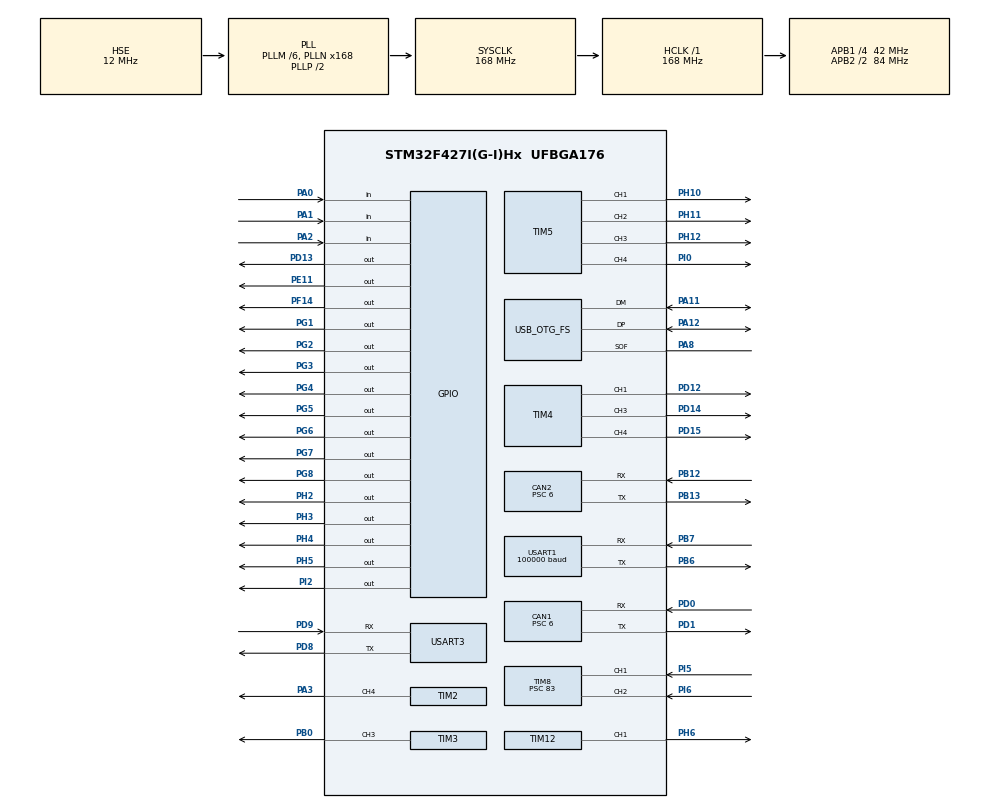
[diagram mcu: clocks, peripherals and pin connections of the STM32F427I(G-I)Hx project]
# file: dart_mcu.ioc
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CAN1.BS1=CAN_BS1_4TQ
CAN1.BS2=CAN_BS2_2TQ
CAN1.CalculateBaudRate=1000000
CAN1.CalculateTimeBit=1000
CAN1.CalculateTimeQuantum=142.85714285714286
CAN1.Prescaler=6
CAN2.BS1=CAN_BS1_4TQ
CAN2.BS2=CAN_BS2_2TQ
CAN2.CalculateBaudRate=1000000
CAN2.CalculateTimeBit=1000
CAN2.CalculateTimeQuantum=142.85714285714286
CAN2.Prescaler=6
Dma.Request0=USART1_RX
Dma.Request1=USART3_RX
Dma.Request2=TIM3_CH3
Dma.TIM3_CH3.2.Direction=DMA_MEMORY_TO_PERIPH
Dma.TIM3_CH3.2.FIFOMode=DMA_FIFOMODE_DISABLE
Dma.TIM3_CH3.2.Instance=DMA1_Stream7
Dma.TIM3_CH3.2.MemDataAlignment=DMA_MDATAALIGN_HALFWORD
Dma.TIM3_CH3.2.MemInc=DMA_MINC_ENABLE
Dma.TIM3_CH3.2.Mode=DMA_NORMAL
Dma.TIM3_CH3.2.PeriphDataAlignment=DMA_PDATAALIGN_HALFWORD
Dma.TIM3_CH3.2.PeriphInc=DMA_PINC_DISABLE
Dma.TIM3_CH3.2.Priority=DMA_PRIORITY_LOW
Dma.USART1_RX.0.Direction=DMA_PERIPH_TO_MEMORY
Dma.USART1_RX.0.FIFOMode=DMA_FIFOMODE_DISABLE
Dma.USART1_RX.0.Instance=DMA2_Stream2
Dma.USART1_RX.0.MemDataAlignment=DMA_MDATAALIGN_BYTE
Dma.USART1_RX.0.MemInc=DMA_MINC_ENABLE
Dma.USART1_RX.0.Mode=DMA_NORMAL
Dma.USART1_RX.0.PeriphDataAlignment=DMA_PDATAALIGN_BYTE
Dma.USART1_RX.0.PeriphInc=DMA_PINC_DISABLE
Dma.USART1_RX.0.Priority=DMA_PRIORITY_HIGH
Dma.USART3_RX.1.Direction=DMA_PERIPH_TO_MEMORY
Dma.USART3_RX.1.FIFOMode=DMA_FIFOMODE_DISABLE
Dma.USART3_RX.1.Instance=DMA1_Stream1
Dma.USART3_RX.1.MemDataAlignment=DMA_MDATAALIGN_BYTE
Dma.USART3_RX.1.MemInc=DMA_MINC_ENABLE
Dma.USART3_RX.1.Mode=DMA_NORMAL
Dma.USART3_RX.1.PeriphDataAlignment=DMA_PDATAALIGN_BYTE
Dma.USART3_RX.1.PeriphInc=DMA_PINC_DISABLE
Dma.USART3_RX.1.Priority=DMA_PRIORITY_HIGH
FREERTOS.Tasks01=defaultTask,24,3000,StartDefaultTask,Default,NULL,Dynamic,NULL,NULL
FREERTOS.configCHECK_FOR_STACK_OVERFLOW=2
FREERTOS.configTOTAL_HEAP_SIZE=53096
FREERTOS.configUSE_NEWLIB_REENTRANT=1
Mcu.Family=STM32F4
Mcu.Name=STM32F427I(G-I)Hx
Mcu.Package=UFBGA176
NVIC.CAN1_RX0_IRQn=true\:5\:0\:false\:false\:true\:true\:true\:true\:true
NVIC.CAN2_RX0_IRQn=true\:5\:0\:false\:false\:true\:true\:true\:true\:true
NVIC.DMA1_Stream1_IRQn=true\:5\:0\:false\:false\:true\:true\:false\:true\:true
NVIC.DMA1_Stream7_IRQn=true\:5\:0\:false\:false\:true\:true\:false\:true\:true
NVIC.DMA2_Stream2_IRQn=true\:5\:0\:false\:false\:true\:true\:false\:true\:true
NVIC.OTG_FS_IRQn=true\:5\:0\:false\:false\:true\:true\:false\:true\:true
NVIC.PriorityGroup=NVIC_PRIORITYGROUP_4
NVIC.TIM1_UP_TIM10_IRQn=true\:15\:0\:false\:false\:true\:false\:false\:true\:true
NVIC.TIM6_DAC_IRQn=true\:5\:0\:false\:false\:true\:true\:true\:true\:true
NVIC.TIM8_CC_IRQn=true\:5\:0\:false\:false\:true\:true\:true\:true\:true
NVIC.TIM8_UP_TIM13_IRQn=true\:5\:0\:false\:false\:true\:true\:true\:true\:true
NVIC.TimeBase=TIM1_UP_TIM10_IRQn
NVIC.TimeBaseIP=TIM1
NVIC.USART1_IRQn=true\:5\:0\:false\:false\:true\:true\:true\:true\:true
NVIC.USART3_IRQn=true\:5\:0\:false\:false\:true\:true\:true\:true\:true
PA0/WKUP.GPIO_PuPd=GPIO_PULLUP
PA0/WKUP.Signal=GPIO_Input
PA1.GPIO_PuPd=GPIO_PULLUP
PA1.Signal=GPIO_Input
PA11.Mode=Device_Only
PA11.Signal=USB_OTG_FS_DM
PA12.Mode=Device_Only
PA12.Signal=USB_OTG_FS_DP
PA13.Mode=Serial_Wire
PA13.Signal=SYS_JTMS-SWDIO
PA14.Mode=Serial_Wire
PA14.Signal=SYS_JTCK-SWCLK
PA2.Signal=GPIO_Input
PA3.Signal=S_TIM2_CH4
PA8.Mode=Activate_SOF_FS
PA8.Signal=USB_OTG_FS_SOF
PB0.Signal=S_TIM3_CH3
PB12.Mode=CAN_Activate
PB12.Signal=CAN2_RX
PB13.Mode=CAN_Activate
PB13.Signal=CAN2_TX
PB6.Mode=Asynchronous
PB6.Signal=USART1_TX
PB7.Mode=Asynchronous
PB7.Signal=USART1_RX
PD0.Mode=CAN_Activate
PD0.Signal=CAN1_RX
PD1.Mode=CAN_Activate
PD1.Signal=CAN1_TX
PD12.Signal=S_TIM4_CH1
PD13.PinState=GPIO_PIN_SET
PD13.Signal=GPIO_Output
PD14.Signal=S_TIM4_CH3
PD15.Signal=S_TIM4_CH4
PD8.Mode=Asynchronous
PD8.Signal=USART3_TX
PD9.Mode=Asynchronous
PD9.Signal=USART3_RX
PE11.Signal=GPIO_Output
PF14.PinState=GPIO_PIN_SET
PF14.Signal=GPIO_Output
PG1.PinState=GPIO_PIN_SET
PG1.Signal=GPIO_Output
PG2.PinState=GPIO_PIN_SET
PG2.Signal=GPIO_Output
PG3.PinState=GPIO_PIN_SET
PG3.Signal=GPIO_Output
PG4.PinState=GPIO_PIN_SET
PG4.Signal=GPIO_Output
PG5.PinState=GPIO_PIN_SET
PG5.Signal=GPIO_Output
PG6.PinState=GPIO_PIN_SET
PG6.Signal=GPIO_Output
PG7.PinState=GPIO_PIN_SET
PG7.Signal=GPIO_Output
PG8.PinState=GPIO_PIN_SET
PG8.Signal=GPIO_Output
PH0/OSC_IN.Mode=HSE-External-Oscillator
PH0/OSC_IN.Signal=RCC_OSC_IN
PH1/OSC_OUT.Mode=HSE-External-Oscillator
PH1/OSC_OUT.Signal=RCC_OSC_OUT
PH10.Signal=S_TIM5_CH1
PH11.Signal=S_TIM5_CH2
PH12.Signal=S_TIM5_CH3
PH2.GPIO_PuPd=GPIO_PULLUP
PH2.PinState=GPIO_PIN_RESET
PH2.Signal=GPIO_Output
PH3.GPIO_PuPd=GPIO_PULLUP
PH3.PinState=GPIO_PIN_RESET
PH3.Signal=GPIO_Output
PH4.GPIO_PuPd=GPIO_PULLUP
PH4.PinState=GPIO_PIN_RESET
PH4.Signal=GPIO_Output
PH5.GPIO_PuPd=GPIO_PULLUP
PH5.PinState=GPIO_PIN_RESET
PH5.Signal=GPIO_Output
PH6.Signal=S_TIM12_CH1
PI0.Signal=S_TIM5_CH4
PI2.PinState=GPIO_PIN_SET
PI2.Signal=GPIO_Output
PI5.Signal=S_TIM8_CH1
PI6.Signal=S_TIM8_CH2
ProjectManager.HeapSize=0x200
ProjectManager.StackSize=0x400
ProjectManager.TargetToolchain=STM32CubeIDE
RCC.48MHZClocksFreq_Value=48000000
RCC.AHBFreq_Value=168000000
RCC.APB1CLKDivider=RCC_HCLK_DIV4
RCC.APB1Freq_Value=42000000
RCC.APB1TimFreq_Value=84000000
RCC.APB2CLKDivider=RCC_HCLK_DIV2
RCC.APB2Freq_Value=84000000
RCC.APB2TimFreq_Value=168000000
RCC.CortexFreq_Value=168000000
RCC.HCLKFreq_Value=168000000
RCC.HSE_VALUE=12000000
RCC.HSI_VALUE=16000000
RCC.LSE_VALUE=32768
RCC.PLLM=6
RCC.PLLN=168
RCC.PLLQ=7
RCC.SYSCLKFreq_VALUE=168000000
RCC.SYSCLKSource=RCC_SYSCLKSOURCE_PLLCLK
RCC.VCOOutputFreq_Value=336000000
SH.S_TIM12_CH1.0=TIM12_CH1,PWM Generation1 CH1
SH.S_TIM2_CH4.0=TIM2_CH4,PWM Generation4 CH4
SH.S_TIM3_CH3.0=TIM3_CH3,PWM Generation3 CH3
SH.S_TIM4_CH1.0=TIM4_CH1,PWM Generation1 CH1
SH.S_TIM4_CH3.0=TIM4_CH3,PWM Generation3 CH3
SH.S_TIM4_CH4.0=TIM4_CH4,PWM Generation4 CH4
SH.S_TIM5_CH1.0=TIM5_CH1,PWM Generation1 CH1
SH.S_TIM5_CH2.0=TIM5_CH2,PWM Generation2 CH2
SH.S_TIM5_CH3.0=TIM5_CH3,PWM Generation3 CH3
SH.S_TIM5_CH4.0=TIM5_CH4,PWM Generation4 CH4
SH.S_TIM8_CH1.0=TIM8_CH1,Input_Capture1_from_TI1
SH.S_TIM8_CH2.0=TIM8_CH2,Input_Capture2_from_TI2
TIM12.Channel-PWM\ Generation1\ CH1=TIM_CHANNEL_1
TIM12.Period=0
TIM12.Prescaler=7
TIM12.Pulse-PWM\ Generation1\ CH1=50
TIM2.Channel-PWM\ Generation4\ CH4=TIM_CHANNEL_4
TIM2.Period=0
TIM2.Prescaler=7
TIM2.Pulse-PWM\ Generation4\ CH4=50
TIM3.Channel-PWM\ Generation3\ CH3=TIM_CHANNEL_3
TIM3.Period=105
TIM4.Channel-PWM\ Generation1\ CH1=TIM_CHANNEL_1
TIM4.Channel-PWM\ Generation3\ CH3=TIM_CHANNEL_3
TIM4.Channel-PWM\ Generation4\ CH4=TIM_CHANNEL_4
TIM5.Channel-PWM\ Generation1\ CH1=TIM_CHANNEL_1
TIM5.Channel-PWM\ Generation2\ CH2=TIM_CHANNEL_2
TIM5.Channel-PWM\ Generation3\ CH3=TIM_CHANNEL_3
TIM5.Channel-PWM\ Generation4\ CH4=TIM_CHANNEL_4
TIM6.Prescaler=8399
TIM8.Channel-Input_Capture1_from_TI1=TIM_CHANNEL_1
TIM8.Channel-Input_Capture2_from_TI2=TIM_CHANNEL_2
TIM8.Prescaler=83
USART1.BaudRate=100000
USART1.Mode=MODE_RX
USART1.Parity=PARITY_EVEN
USART1.VirtualMode=VM_ASYNC
USART1.WordLength=WORDLENGTH_9B
USART3.VirtualMode=VM_ASYNC
USB_DEVICE.CLASS_NAME_FS=CDC
USB_DEVICE.VirtualMode-CDC_FS=Cdc
USB_DEVICE.VirtualModeFS=Cdc_FS
USB_OTG_FS.VirtualMode=Device_Only
VP_FREERTOS_VS_CMSIS_V2.Mode=CMSIS_V2
VP_RNG_VS_RNG.Mode=RNG_Activate
VP_SYS_VS_tim1.Mode=TIM1
VP_TIM6_VS_ClockSourceINT.Mode=Enable_Timer
VP_TIM8_VS_ClockSourceINT.Mode=Internal
VP_USB_DEVICE_VS_USB_DEVICE_CDC_FS.Mode=CDC_FS
board=custom

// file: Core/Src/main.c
/* USER CODE BEGIN Header */
/**
  ******************************************************************************
  * @file           : main.c
  * @brief          : Main program body
  ******************************************************************************
  */
/* USER CODE END Header */
#include "main.h"
#include "cmsis_os.h"
#include "can.h"
#include "dma.h"
#include "rng.h"
#include "tim.h"
#include "usart.h"
#include "usb_device.h"
#include "gpio.h"

/* USER CODE BEGIN Includes */
#include "motor_M4310.h"
#include "motor_rm.h"
#include "dbus.h"
#include "pid_controller.h"
/* USER CODE END Includes */

/* USER CODE BEGIN PV */
M4310_HandleTypeDef hm4310_12;   /* M4310: CAN2 ID=12, 反馈 0x20C */
M4310_HandleTypeDef hm4310_13;   /* M4310: CAN2 ID=13, 反馈 0x20D */
/* USER CODE END PV */

void SystemClock_Config(void);
void MX_FREERTOS_Init(void);

int main(void)
{
  HAL_Init();
  SystemClock_Config();
  MX_GPIO_Init();
  MX_DMA_Init();
  MX_TIM12_Init();
  MX_TIM6_Init();
  MX_CAN1_Init();
  MX_CAN2_Init();
  MX_TIM4_Init();
  MX_TIM5_Init();
  MX_USART1_UART_Init();
  MX_USART3_UART_Init();
  MX_TIM8_Init();
  MX_RNG_Init();
  MX_TIM2_Init();
  MX_TIM3_Init();

  /* USER CODE BEGIN 2 */
  CAN_FilterTypeDef sFilterConfig;
  sFilterConfig.FilterBank = 0;
  sFilterConfig.FilterMode = CAN_FILTERMODE_IDMASK;
  sFilterConfig.FilterScale = CAN_FILTERSCALE_32BIT;
  sFilterConfig.FilterIdHigh = 0x0000;
  sFilterConfig.FilterIdLow = 0x0000;
  sFilterConfig.FilterMaskIdHigh = 0x0000;
  sFilterConfig.FilterMaskIdLow = 0x0000;
  sFilterConfig.FilterFIFOAssignment = CAN_RX_FIFO0;
  sFilterConfig.FilterActivation = ENABLE;
  sFilterConfig.SlaveStartFilterBank = 14;
  HAL_CAN_ConfigFilter(&hcan1, &sFilterConfig);
  HAL_CAN_Start(&hcan1);
  HAL_CAN_ActivateNotification(&hcan1, CAN_IT_RX_FIFO0_MSG_PENDING);

  /* 配置 CAN2 滤波器 */
  sFilterConfig.FilterBank = 14;
  sFilterConfig.FilterMode = CAN_FILTERMODE_IDMASK;
  sFilterConfig.FilterScale = CAN_FILTERSCALE_32BIT;
  sFilterConfig.FilterIdHigh = 0x0000;
  sFilterConfig.FilterIdLow = 0x0000;
  sFilterConfig.FilterMaskIdHigh = 0x0000;
  sFilterConfig.FilterMaskIdLow = 0x0000;
  sFilterConfig.FilterFIFOAssignment = CAN_RX_FIFO0;
  sFilterConfig.FilterActivation = ENABLE;
  sFilterConfig.SlaveStartFilterBank = 14;
  HAL_CAN_ConfigFilter(&hcan2, &sFilterConfig);
  HAL_CAN_Start(&hcan2);
  HAL_CAN_ActivateNotification(&hcan2, CAN_IT_RX_FIFO0_MSG_PENDING);

  /* 初始化电机:
   * RM 系列 (M2006/M3508/GM6020) 通过 C++ 基类统一初始化
   * M4310 × 2 保持原有 C 接口
   */
  motor_rm_c_init_all();
  M4310_Init(&hm4310_12,  12,  10000);
  M4310_Init(&hm4310_13,  13,  10000);

  /* 初始化 PID 控制器（关联电机对象指针） */
  pid_controller_init_all();

  /* 初始化 DBUS 遥控器 */
  DT7_Init();
  HAL_UARTEx_ReceiveToIdle_DMA(RC_UART_HANDLE, RC_UART_RXBUFFER, RC_UART_BUFFER_LEN);

  uint32_t motor_wait_start = HAL_GetTick();
  while (!motor_rm_c_is_connected(motor_rm_gm6020) ||
         !motor_rm_c_is_connected(motor_rm_m2006) ||
         !motor_rm_c_is_connected(motor_rm_m3508_2) ||
         !motor_rm_c_is_connected(motor_rm_m3508_3) ||
         !M4310_IsConnected(&hm4310_12) ||
         !M4310_IsConnected(&hm4310_13)) {
      if (HAL_GetTick() - motor_wait_start > 3000) break;
  }
  /* USER CODE END 2 */

  osKernelInitialize();
  MX_FREERTOS_Init();
  osKernelStart();

  while (1) { }
}

void SystemClock_Config(void)
{
  RCC_OscInitTypeDef RCC_OscInitStruct = {0};
  RCC_ClkInitTypeDef RCC_ClkInitStruct = {0};
  __HAL_RCC_PWR_CLK_ENABLE();
  __HAL_PWR_VOLTAGESCALING_CONFIG(PWR_REGULATOR_VOLTAGE_SCALE1);
  RCC_OscInitStruct.OscillatorType = RCC_OSCILLATORTYPE_HSE;
  RCC_OscInitStruct.HSEState = RCC_HSE_ON;
  RCC_OscInitStruct.PLL.PLLState = RCC_PLL_ON;
  RCC_OscInitStruct.PLL.PLLSource = RCC_PLLSOURCE_HSE;
  RCC_OscInitStruct.PLL.PLLM = 6;
  RCC_OscInitStruct.PLL.PLLN = 168;
  RCC_OscInitStruct.PLL.PLLP = RCC_PLLP_DIV2;
  RCC_OscInitStruct.PLL.PLLQ = 7;
  if (HAL_RCC_OscConfig(&RCC_OscInitStruct) != HAL_OK) Error_Handler();
  RCC_ClkInitStruct.ClockType = RCC_CLOCKTYPE_HCLK|RCC_CLOCKTYPE_SYSCLK|RCC_CLOCKTYPE_PCLK1|RCC_CLOCKTYPE_PCLK2;
  RCC_ClkInitStruct.SYSCLKSource = RCC_SYSCLKSOURCE_PLLCLK;
  RCC_ClkInitStruct.AHBCLKDivider = RCC_SYSCLK_DIV1;
  RCC_ClkInitStruct.APB1CLKDivider = RCC_HCLK_DIV4;
  RCC_ClkInitStruct.APB2CLKDivider = RCC_HCLK_DIV2;
  if (HAL_RCC_ClockConfig(&RCC_ClkInitStruct, FLASH_LATENCY_5) != HAL_OK) Error_Handler();
}

void HAL_TIM_PeriodElapsedCallback(TIM_HandleTypeDef *htim) {
  if (htim->Instance == TIM1) HAL_IncTick();
}

void Error_Handler(void) { __disable_irq(); while(1); }

/* DBUS UART 空闲中断回调 */
void HAL_UARTEx_RxEventCallback(UART_HandleTypeDef *huart, uint16_t Size)
{
    if (huart == RC_UART_HANDLE && huart->RxEventType == HAL_UART_RXEVENT_IDLE)
    {
        if (Size == RC_FRAME_LEN)
        {
            DT7_Decode();
        }
        memset(RC_UART_RXBUFFER, 0, RC_UART_BUFFER_LEN);
        HAL_UARTEx_ReceiveToIdle_DMA(RC_UART_HANDLE, RC_UART_RXBUFFER, RC_UART_BUFFER_LEN);
    }
}

void HAL_UART_ErrorCallback(UART_HandleTypeDef *huart)
{
    if (huart == RC_UART_HANDLE)
    {
        __HAL_UART_CLEAR_FLAG(huart, UART_FLAG_ORE | UART_FLAG_NE | UART_FLAG_FE | UART_FLAG_PE);
        HAL_UART_AbortReceive(huart);
        memset(RC_UART_RXBUFFER, 0, RC_UART_BUFFER_LEN);
        HAL_UARTEx_ReceiveToIdle_DMA(RC_UART_HANDLE, RC_UART_RXBUFFER, RC_UART_BUFFER_LEN);
    }
}

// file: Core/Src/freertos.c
/* USER CODE BEGIN Header */
/**
  ******************************************************************************
  * File Name          : freertos.c
  * Description        : Code for freertos applications
  ******************************************************************************
  */
/* USER CODE END Header */

#include "FreeRTOS.h"
#include "task.h"
#include "main.h"
#include "cmsis_os.h"

/* USER CODE BEGIN Includes */
#include "motor_M4310.h"
#include "motor_rm.h"
#include "dbus.h"
#include "pid_controller.h"
#include "state_machine.h"
#include "can.h"
#include <string.h>

// RM 系列电机状态值（与旧枚举 M*_IDLE=0, M*_RUNNING=1, M*_DISCONNECTED=2 保持一致）
#define RM_STATE_IDLE          0
#define RM_STATE_RUNNING       1
#define RM_STATE_DISCONNECTED  2

extern M4310_HandleTypeDef hm4310_12;  /* CAN2 ID=12, 反馈 0x20C */
extern M4310_HandleTypeDef hm4310_13;  /* CAN2 ID=13, 反馈 0x20D */
/* USER CODE END Includes */

osThreadId_t defaultTaskHandle;
const osThreadAttr_t defaultTask_attributes = {
  .name = "defaultTask",
  .stack_size = 3000 * 4,
  .priority = (osPriority_t) osPriorityNormal,
};

void StartDefaultTask(void *argument);
extern void MX_USB_DEVICE_Init(void);
void MX_FREERTOS_Init(void);

void vApplicationStackOverflowHook(xTaskHandle xTask, signed char *pcTaskName) { while(1); }

void MX_FREERTOS_Init(void) {
  defaultTaskHandle = osThreadNew(StartDefaultTask, NULL, &defaultTask_attributes);
}

void StartDefaultTask(void *argument)
{
  MX_USB_DEVICE_Init();
  /* USER CODE BEGIN StartDefaultTask */

  uint32_t wait_start = HAL_GetTick();
  while (HAL_GetTick() - wait_start < 3000) {
      if (motor_rm_c_is_connected(motor_rm_gm6020) &&
          motor_rm_c_is_connected(motor_rm_m2006) &&
          motor_rm_c_is_connected(motor_rm_m3508_2) &&
          motor_rm_c_is_connected(motor_rm_m3508_3) &&
          M4310_IsConnected(&hm4310_12) &&
          M4310_IsConnected(&hm4310_13))
          break;
      osDelay(10);
  }

  TickType_t xLastWakeTime = xTaskGetTickCount();

  for(;;)
  {
    /* 状态机更新：根据遥控器和电机连接状态切换 BOOT/PROTECT/REMOTE */
    state_machine_update();

    if (g_dart_state == STATE_REMOTE)
    {
        /* 遥控器 → 目标速度 (RPM)
         *   ch0 (右摇杆 X) → GM6020 目标速度
         *   ch2 (左摇杆 X) → M3508 #1 目标速度
         *   ch3 (左摇杆 Y) → M3508 #2 目标速度
         *   ch4_wheel (拨轮) → M2006 目标速度
         */
        int16_t scale = (RC_Data.Switch_Right == RC_SW_MID) ? 1 : 5;

        pid_controller_set_target_gm6020((RC_Data.ch0 - 1024) * scale);
        pid_controller_set_target_m2006((RC_Data.ch4_wheel - 1024) * scale);
        pid_controller_set_target_m3508_2((RC_Data.ch2 - 1024) * scale);
        pid_controller_set_target_m3508_3((RC_Data.ch3 - 1024) * scale);

        /* PID 计算输出 */
        motor_rm_c_set_output(motor_rm_gm6020, pid_controller_update_gm6020());
        motor_rm_c_set_output(motor_rm_m2006,  pid_controller_update_m2006());
        motor_rm_c_set_output(motor_rm_m3508_2, pid_controller_update_m3508_2());
        motor_rm_c_set_output(motor_rm_m3508_3, pid_controller_update_m3508_3());
    }
    else
    {
        /* PROTECT/BOOT: 全部锁定，PID 回零 */
        pid_controller_set_target_gm6020(0);
        pid_controller_set_target_m2006(0);
        pid_controller_set_target_m3508_2(0);
        pid_controller_set_target_m3508_3(0);

        motor_rm_c_set_output(motor_rm_gm6020, 0);
        motor_rm_c_set_output(motor_rm_m2006, 0);
        motor_rm_c_set_output(motor_rm_m3508_2, 0);
        motor_rm_c_set_output(motor_rm_m3508_3, 0);
    }

    /* CAN2 M4310 始终锁定（暂时不控） */
    M4310_SetCurrent(&hm4310_12, 0);
    M4310_SetCurrent(&hm4310_13, 0);

    /* ==== CAN1 发送: 0x200 帧（M3508+M2006 电流控制） ==== */
    CAN_TxHeaderTypeDef tx_header;
    uint8_t can1_data[8];
    uint32_t tx_mailbox, timeout;
    memset(can1_data, 0, 8);

    /* 槽位: [0]=ID1(保留), [1]=ID2, [2]=ID3, [3]=ID4 */
    /* ID=1 留给 GM6020，用 0x1FF 单独发 */
    can1_data[0] = 0;
    can1_data[1] = 0;
    // ID=2: M3508 #1 → 槽位 1
    packCanArray(can1_data, 1, motor_rm_c_get_output(motor_rm_m3508_2));
    // ID=3: M3508 #2 → 槽位 2
    packCanArray(can1_data, 2, motor_rm_c_get_output(motor_rm_m3508_3));
    // ID=4: M2006 → 槽位 3
    packCanArray(can1_data, 3, motor_rm_c_get_output(motor_rm_m2006));

    tx_header.StdId = 0x200;
    tx_header.IDE = CAN_ID_STD;
    tx_header.RTR = CAN_RTR_DATA;
    tx_header.DLC = 8;
    tx_header.TransmitGlobalTime = DISABLE;

    timeout = 0;
    while (HAL_CAN_GetTxMailboxesFreeLevel(&hcan1) == 0) {
        if (++timeout > 5000) {
            HAL_CAN_AbortTxRequest(&hcan1, CAN_TX_MAILBOX0 | CAN_TX_MAILBOX1 | CAN_TX_MAILBOX2);
            break;
        }
    }
    if (HAL_CAN_GetTxMailboxesFreeLevel(&hcan1) > 0)
        HAL_CAN_AddTxMessage(&hcan1, &tx_header, can1_data, &tx_mailbox);

    /* ==== CAN1 发送: 0x1FF 帧（GM6020 电压控制） ==== */
    uint8_t gm6020_data[8];
    memset(gm6020_data, 0, 8);

    /* GM6020: ID=1 → 槽位 0 */
    packCanArray(gm6020_data, 0, motor_rm_c_get_output(motor_rm_gm6020));

    tx_header.StdId = 0x1FF;
    tx_header.DLC = 8;

    timeout = 0;
    while (HAL_CAN_GetTxMailboxesFreeLevel(&hcan1) == 0) {
        if (++timeout > 5000) {
            HAL_CAN_AbortTxRequest(&hcan1, CAN_TX_MAILBOX0 | CAN_TX_MAILBOX1 | CAN_TX_MAILBOX2);
            break;
        }
    }
    if (HAL_CAN_GetTxMailboxesFreeLevel(&hcan1) > 0)
        HAL_CAN_AddTxMessage(&hcan1, &tx_header, gm6020_data, &tx_mailbox);

    /* ==== CAN2 发送: 0x200 帧（M4310×2 电流控制） ==== */
    uint8_t can2_data[8];
    memset(can2_data, 0, 8);

    int16_t c12 = M4310_GetTargetCurrent(&hm4310_12);  /* ID=12 → bytes 0-1 (组1电机0) */
    int16_t c13 = M4310_GetTargetCurrent(&hm4310_13);  /* ID=13 → bytes 2-3 (组1电机1) */
    can2_data[0] = (uint8_t)(c12 >> 8);
    can2_data[1] = (uint8_t)(c12);
    can2_data[2] = (uint8_t)(c13 >> 8);
    can2_data[3] = (uint8_t)(c13);

    tx_header.StdId = 0x200;
    tx_header.DLC = 8;

    timeout = 0;
    while (HAL_CAN_GetTxMailboxesFreeLevel(&hcan2) == 0) {
        if (++timeout > 5000) {
            HAL_CAN_AbortTxRequest(&hcan2, CAN_TX_MAILBOX0 | CAN_TX_MAILBOX1 | CAN_TX_MAILBOX2);
            break;
        }
    }
    if (HAL_CAN_GetTxMailboxesFreeLevel(&hcan2) > 0)
        HAL_CAN_AddTxMessage(&hcan2, &tx_header, can2_data, &tx_mailbox);

    vTaskDelayUntil(&xLastWakeTime, 1);  /* 1KHz */
  }
  /* USER CODE END StartDefaultTask */
}
